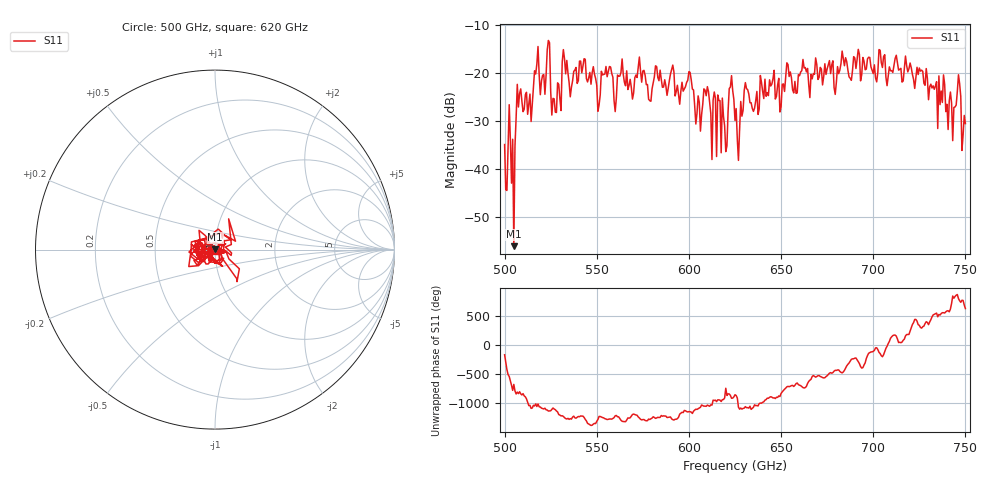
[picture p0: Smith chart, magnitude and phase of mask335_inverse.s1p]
!Created with skrf (http://scikit-rf.org).
# GHz S MA R 50.0
!freq magS11 angS11
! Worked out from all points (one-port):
!   401 points, 500 GHz to 750 GHz, reference 50 ohm
!   lowest |S11| = -56.1 dB at 505 GHz (marker M1), VSWR 1.00, Z = 50.1 + j0.104 ohm
!   |S11| at or under -10 dB: start of sweep to end of sweep
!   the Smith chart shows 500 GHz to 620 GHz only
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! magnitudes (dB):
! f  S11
! 500 GHz  -34.9
! 503.1 GHz  -34.0
! 505 GHz  -56.1
! 508.1 GHz  -24.3
! 513.8 GHz  -24.4
! 516.9 GHz  -20.3
! 520.6 GHz  -20.5
! 523.8 GHz  -13.3
! 526.9 GHz  -25.4
! 531.2 GHz  -17.8
! 542.5 GHz  -18.6
! 550.6 GHz  -28.0
! 562.5 GHz  -20.7
! 593.8 GHz  -22.6
! 600 GHz  -19.8
! 605 GHz  -24.8
! 609.4 GHz  -24.8
! 620 GHz  -36.4
! 623.1 GHz  -20.6
! 625 GHz  -29.9
! 626.2 GHz  -33.8
! 631.2 GHz  -23.3
! 656.2 GHz  -23.6
! 687.5 GHz  -21.1
! 718.8 GHz  -19.8
! 741.9 GHz  -24.0
! 746.2 GHz  -20.4
! 750 GHz  -30.6
